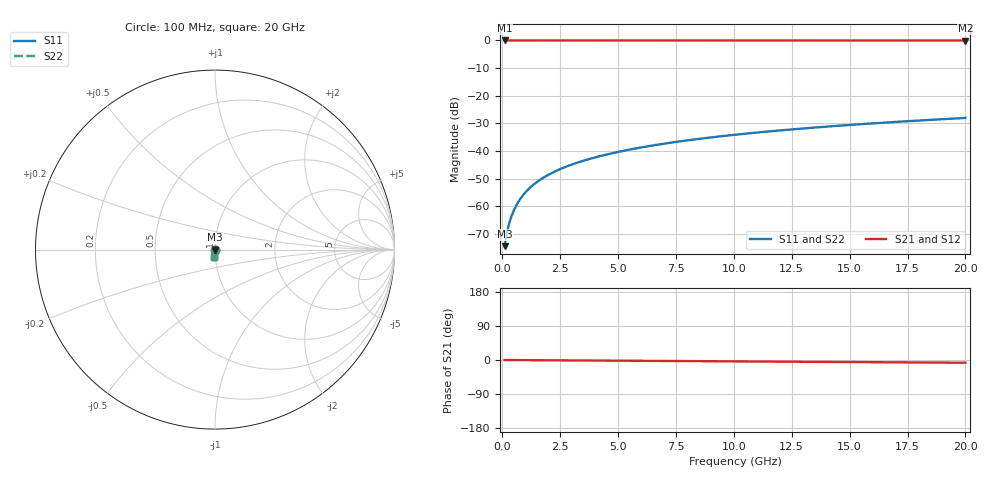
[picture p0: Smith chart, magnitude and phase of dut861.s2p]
! Touchstone file exported from HFSS 2026.1.0
!  File:  C:/ffzhzh/LocalFiles/Ansys_Project_Files/temp_train_TSV_861_1783185359_43440.aedt
!  Generated:  01:17:15 AM Jul  5, 2026
!  Design:  TSV
!  Project:  temp_train_TSV_861_1783185359_43440
! Variables:
!  h_bsmrdl = 2um
!  h_ox = 20um
!  h_rdl = 5um
!  h_sub = 71.26um
!  h_tmrdl = 5um
!  h_tsv = 71.26um
!  h_via = 3um
!  l_bsmrdl = 300um
!  l_sub = 421.3um
!  l_tmrdl = 200um
!  m_sub = 200um
!  pitch = 32.15um
!  r_tsv = 10.65um
!  s_tmrdl = 10um
!  w_bsmrdl = 18um
!  w_sub = 500um
!  w_tmrdl = 12um
!  x_tsv_center1 = 206um
!  x_tsv_center2 = 524um
!  x_tsv_center3 = 736um
!  x_tsv_center4 = 1054um
!  x_tsv_center5 = 1266um
!  x_tsv_center6 = 1584um
# GHz S MA R 50.000000
! Terminal data exported
! Port[1] = TSV1_1_T1
! Port[2] = TSV1_1_T2
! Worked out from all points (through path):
!   200 points, 100 MHz to 20 GHz, reference 50 ohm
!   highest |S21| = 0.00 dB at 100 MHz (marker M1); lowest = 0.0 dB at 20 GHz (marker M2)
!   group delay of S21, straight-line fit = 1 ps
!   lowest |S11| = -74.4 dB at 100 MHz (marker M3), VSWR 1.00, Z = 50 - j0.0154 ohm
!   |S11| at or under -10 dB: start of sweep to end of sweep
!   |S22| runs from -74.4 to -28.0 dB; largest |S21 - S12| = 2.3e-15
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0.1  0.0001912 -53.5  0.9999 -0.0  0.9999 -0.0  0.0001912 -53.5
! Gamma 0 0 0 0
! Port Impedance 50 0 50 0
0.2  0.0003363 -67.7  0.9999 -0.1  0.9999 -0.1  0.0003363 -67.7
0.3  0.0004974 -72.7  0.9999 -0.1  0.9999 -0.1  0.0004974 -72.7
0.4  0.0006683 -75.1  0.9998 -0.2  0.9998 -0.2  0.0006683 -75.1
0.5  0.0008467 -76.6  0.9998 -0.2  0.9998 -0.2  0.0008467 -76.6
0.7  0.001219 -78.6  0.9998 -0.3  0.9998 -0.3  0.001219 -78.6
0.8  0.00141 -79.4  0.9997 -0.3  0.9997 -0.3  0.00141 -79.4
1  0.001797 -80.7  0.9997 -0.4  0.9997 -0.4  0.001797 -80.7
1.2  0.002187 -81.8  0.9997 -0.4  0.9997 -0.4  0.002187 -81.8
1.4  0.002578 -82.7  0.9996 -0.5  0.9996 -0.5  0.002578 -82.7
1.7  0.003165 -83.7  0.9996 -0.6  0.9996 -0.6  0.003165 -83.7
2  0.003751 -84.5  0.9996 -0.7  0.9996 -0.7  0.003751 -84.5
2.7  0.005121 -85.8  0.9995 -1.0  0.9995 -1.0  0.005121 -85.8
3.5  0.006692 -86.8  0.9995 -1.3  0.9995 -1.3  0.006692 -86.8
4.2  0.008072 -87.5  0.9994 -1.5  0.9994 -1.5  0.008072 -87.5
5  0.009657 -88.1  0.9993 -1.8  0.9993 -1.8  0.009657 -88.1
6.8  0.01324 -89.3  0.9992 -2.5  0.9992 -2.5  0.01324 -89.3
8.3  0.01625 -90.1  0.9991 -3.0  0.9991 -3.0  0.01625 -90.1
10.1  0.01986 -91.1  0.9989 -3.7  0.9989 -3.7  0.01986 -91.1
13.4  0.02648 -92.6  0.9986 -4.8  0.9986 -4.8  0.02648 -92.6
16.7  0.03311 -94.0  0.9983 -6.0  0.9983 -6.0  0.03311 -94.0
20  0.03975 -95.4  0.9979 -7.2  0.9979 -7.2  0.03975 -95.4
